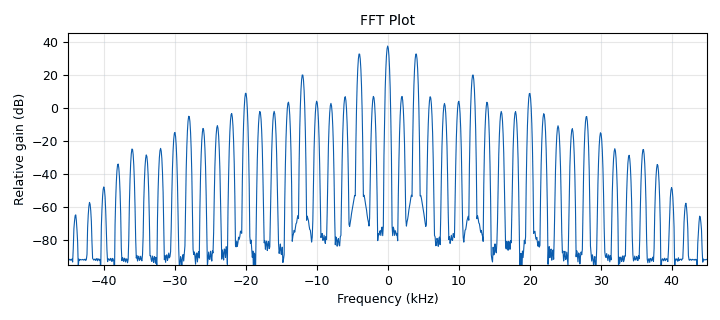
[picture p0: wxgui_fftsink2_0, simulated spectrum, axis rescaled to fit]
<?xml version='1.0' encoding='utf-8'?>
<flow_graph>
<block>
<key>options</key>
<param><key>id</key><value>top_block</value></param>
<param><key>generate_options</key><value>wx_gui</value></param>
<param><key>category</key><value>Custom</value></param>
</block>
<block>
<key>variable</key>
<param><key>id</key><value>samp_rate</value></param>
<param><key>value</key><value>90e3</value></param>
</block>
<block>
<key>blocks_throttle</key>
<param><key>id</key><value>blocks_throttle_0</value></param>
<param><key>type</key><value>float</value></param>
<param><key>samples_per_second</key><value>samp_rate</value></param>
</block>
<block>
<key>blocks_stream_to_vector</key>
<param><key>id</key><value>blocks_stream_to_vector_0</value></param>
<param><key>type</key><value>float</value></param>
<param><key>num_items</key><value>int(1.024e3)</value></param>
</block>
<block>
<key>fft_vxx</key>
<param><key>id</key><value>fft_vxx_0</value></param>
<param><key>type</key><value>float</value></param>
<param><key>fft_size</key><value>1024</value></param>
<param><key>forward</key><value>True</value></param>
<param><key>window</key><value>window.blackmanharris(1024)</value></param>
<param><key>shift</key><value>True</value></param>
</block>
<block>
<key>fft_vxx</key>
<param><key>id</key><value>fft_vxx_1</value></param>
<param><key>type</key><value>complex</value></param>
<param><key>fft_size</key><value>1024</value></param>
<param><key>forward</key><value>False</value></param>
<param><key>window</key><value>window.blackmanharris(1024)</value></param>
<param><key>shift</key><value>True</value></param>
</block>
<block>
<key>blocks_vector_to_stream</key>
<param><key>id</key><value>blocks_vector_to_stream_0</value></param>
<param><key>type</key><value>complex</value></param>
<param><key>num_items</key><value>int(1.024e3)</value></param>
</block>
<block>
<key>wxgui_fftsink2</key>
<param><key>id</key><value>wxgui_fftsink2_0</value></param>
<param><key>type</key><value>complex</value></param>
<param><key>title</key><value>FFT Plot</value></param>
<param><key>samp_rate</key><value>samp_rate</value></param>
<param><key>baseband_freq</key><value>0</value></param>
<param><key>y_per_div</key><value>10</value></param>
<param><key>y_divs</key><value>10</value></param>
<param><key>ref_level</key><value>0</value></param>
<param><key>ref_scale</key><value>2.0</value></param>
<param><key>fft_size</key><value>1024</value></param>
<param><key>fft_rate</key><value>30</value></param>
<param><key>peak_hold</key><value>False</value></param>
<param><key>average</key><value>False</value></param>
<param><key>avg_alpha</key><value>0</value></param>
<param><key>win</key><value>None</value></param>
<param><key>freqvar</key><value>None</value></param>
</block>
<block>
<key>analog_sig_source_x</key>
<param><key>id</key><value>analog_sig_source_x_0</value></param>
<param><key>type</key><value>float</value></param>
<param><key>samp_rate</key><value>samp_rate</value></param>
<param><key>waveform</key><value>analog.GR_SQR_WAVE</value></param>
<param><key>freq</key><value>4000</value></param>
<param><key>amp</key><value>1</value></param>
<param><key>offset</key><value>0</value></param>
</block>
<connection><source_block_id>blocks_stream_to_vector_0</source_block_id><sink_block_id>fft_vxx_0</sink_block_id><source_key>0</source_key><sink_key>0</sink_key></connection>
<connection><source_block_id>blocks_vector_to_stream_0</source_block_id><sink_block_id>wxgui_fftsink2_0</sink_block_id><source_key>0</source_key><sink_key>0</sink_key></connection>
<connection><source_block_id>analog_sig_source_x_0</source_block_id><sink_block_id>blocks_throttle_0</sink_block_id><source_key>0</source_key><sink_key>0</sink_key></connection>
<connection><source_block_id>blocks_throttle_0</source_block_id><sink_block_id>blocks_stream_to_vector_0</sink_block_id><source_key>0</source_key><sink_key>0</sink_key></connection>
<connection><source_block_id>fft_vxx_0</source_block_id><sink_block_id>fft_vxx_1</sink_block_id><source_key>0</source_key><sink_key>0</sink_key></connection>
<connection><source_block_id>fft_vxx_1</source_block_id><sink_block_id>blocks_vector_to_stream_0</sink_block_id><source_key>0</source_key><sink_key>0</sink_key></connection>
</flow_graph>
